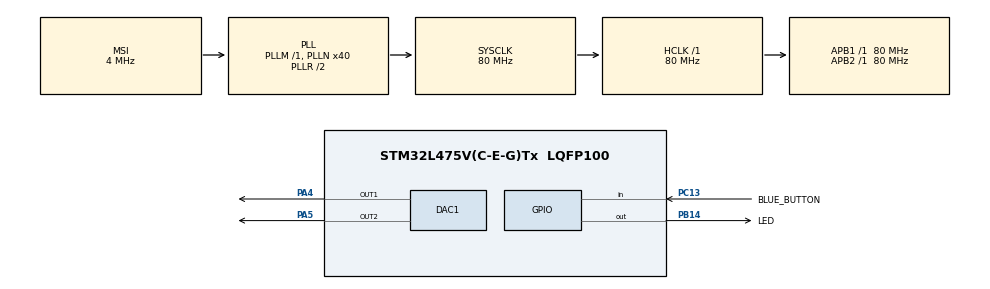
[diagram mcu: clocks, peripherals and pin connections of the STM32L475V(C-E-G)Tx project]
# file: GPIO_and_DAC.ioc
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ADC1.Channel-0\#ChannelRegularConversion=ADC_CHANNEL_VREFINT
ADC1.NbrOfConversionFlag=1
ADC1.OffsetNumber-0\#ChannelRegularConversion=ADC_OFFSET_NONE
ADC1.Rank-0\#ChannelRegularConversion=1
ADC1.SamplingTime-0\#ChannelRegularConversion=ADC_SAMPLETIME_92CYCLES_5
ADC1.master=1
ADC3.Channel-0\#ChannelRegularConversion=ADC_CHANNEL_TEMPSENSOR
ADC3.NbrOfConversionFlag=1
ADC3.OffsetNumber-0\#ChannelRegularConversion=ADC_OFFSET_NONE
ADC3.Rank-0\#ChannelRegularConversion=1
ADC3.SamplingTime-0\#ChannelRegularConversion=ADC_SAMPLETIME_92CYCLES_5
DAC1.DAC_Channel-DAC_OUT2=DAC_CHANNEL_2
DAC1.DAC_SampleAndHold-DAC_OUT1=DAC_SAMPLEANDHOLD_DISABLE
DAC1.DAC_SampleAndHold-DAC_OUT2=DAC_SAMPLEANDHOLD_DISABLE
Mcu.Family=STM32L4
Mcu.Name=STM32L475V(C-E-G)Tx
Mcu.Package=LQFP100
NVIC.PriorityGroup=NVIC_PRIORITYGROUP_4
PA13\ (JTMS-SWDIO).GPIO_Label=SWDIO
PA13\ (JTMS-SWDIO).Signal=SYS_JTMS-SWDIO
PA4.Signal=COMP_DAC11_group
PA5.Signal=COMP_DAC12_group
PB14.GPIO_Label=LED
PB14.Signal=GPIO_Output
PB3\ (JTDO-TRACESWO).GPIO_Label=SWO
PB3\ (JTDO-TRACESWO).Signal=SYS_JTDO-SWO
PC13.GPIO_Label=BLUE_BUTTON
PC13.Signal=GPIO_Input
ProjectManager.HeapSize=0x200
ProjectManager.StackSize=0x400
ProjectManager.TargetToolchain=STM32CubeIDE
RCC.ADCFreq_Value=48000000
RCC.AHBFreq_Value=80000000
RCC.APB1Freq_Value=80000000
RCC.APB1TimFreq_Value=80000000
RCC.APB2Freq_Value=80000000
RCC.APB2TimFreq_Value=80000000
RCC.CortexFreq_Value=80000000
RCC.HCLKFreq_Value=80000000
RCC.HSE_VALUE=8000000
RCC.HSI_VALUE=16000000
RCC.LSE_VALUE=32768
RCC.MSI_VALUE=4000000
RCC.PLLN=40
RCC.PLLSAI1N=24
RCC.SYSCLKFreq_VALUE=80000000
RCC.SYSCLKSource=RCC_SYSCLKSOURCE_PLLCLK
RCC.USBFreq_Value=48000000
RCC.VCOOutputFreq_Value=160000000
SH.COMP_DAC11_group.0=DAC1_OUT1,DAC_OUT1
SH.COMP_DAC12_group.0=DAC1_OUT2,DAC_OUT2
VP_ADC1_Vref_Input.Mode=IN-Vrefint
VP_ADC3_TempSens_Input.Mode=IN-TempSens
board=B-L475E-IOT01A2

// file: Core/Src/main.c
/* USER CODE BEGIN Header */
/**
  ******************************************************************************
  * @file           : main.c
  * @brief          : Main program body
  ******************************************************************************
  * @attention
  *
  * Copyright (c) 2023 STMicroelectronics.
  * All rights reserved.
  *
  * This software is licensed under terms that can be found in the LICENSE file
  * in the root directory of this software component.
  * If no LICENSE file comes with this software, it is provided AS-IS.
  *
  ******************************************************************************
  */
/* USER CODE END Header */
#include "main.h"

/* USER CODE BEGIN PD */
#define ADC_PULLING_RATE (int32_t) 100

/* USER CODE END PD */

ADC_HandleTypeDef hadc1;
ADC_HandleTypeDef hadc3;

DAC_HandleTypeDef hdac1;

void SystemClock_Config(void);
void PeriphCommonClock_Config(void);
static void MX_GPIO_Init(void);
static void MX_DAC1_Init(void);
static void MX_ADC1_Init(void);
static void MX_ADC3_Init(void);

int main(void)
{
  /* USER CODE BEGIN 1 */
  uint32_t samplingRate = 15;
  uint32_t period = 15; // 15 in ms
  uint32_t delay = period / samplingRate;
  uint32_t maxDACAmplitude = 150; // max of 8-bit number (but 200 instead of 256 bc clipping)
  uint32_t DACIncrement = maxDACAmplitude / samplingRate;
  float_t SINIncrement = (2.0 * M_PI) / samplingRate;

  uint32_t currentSAWValue = 0; // initialized value for SAW signal
  uint32_t currentTRIANGLEValue = 0; // initialized value for TRIANGLE signal
  float_t currentSINValue = 0; // initialized value for SIN signal output
  uint32_t SINOutput = 0;

  uint32_t vrefint;
  uint32_t temperatureSensor;
  int32_t temperatureCelcius;

  GPIO_PinState ledCurrentState = GPIO_PIN_RESET;
  GPIO_PinState buttonCurrentState = GPIO_PIN_SET;

  uint32_t currentSignalState = 0;
  uint32_t currentSignalOutput = 0;
  enum State {SAW = 0, TRIANGLE = 1, SIN = 2};
  // 0 = saw
  // 1 = triangle
  // 2 = sin

  /* USER CODE END 1 */

  /* MCU Configuration--------------------------------------------------------*/

  /* Reset of all peripherals, Initializes the Flash interface and the Systick. */
  HAL_Init();

  /* Configure the system clock */
  SystemClock_Config();

/* Configure the peripherals common clocks */
  PeriphCommonClock_Config();

  /* Initialize all configured peripherals */
  MX_GPIO_Init();
  MX_DAC1_Init();
  MX_ADC1_Init();
  MX_ADC3_Init();

  /* Infinite loop */
  /* USER CODE BEGIN WHILE */
  /////////////////////Initialize DAC for Wave/////////////////////
  HAL_DAC_Start(&hdac1, DAC_CHANNEL_1);
  HAL_DAC_Start(&hdac1, DAC_CHANNEL_2);
  /////////////////////Initialize ADC for Temperature Sensor/////////////////////
  HAL_ADC_Start(&hadc1);
  HAL_ADC_PollForConversion(&hadc1, ADC_PULLING_RATE);
  vrefint = HAL_ADC_GetValue(&hadc1);
  int32_t vrefintConverted = __HAL_ADC_CALC_VREFANALOG_VOLTAGE(vrefint, ADC_RESOLUTION_12B);
  HAL_ADC_Stop(&hadc1);
  while (1)
  {
    /* USER CODE END WHILE */

    /* USER CODE BEGIN 3 */
//	  buttonLightLED();

	  // This should be running for all parts because they depend on the signal values
	  generateSAW(&currentSAWValue, DACIncrement, maxDACAmplitude);
	  generateTRIANGLE(&currentTRIANGLEValue, currentSAWValue, maxDACAmplitude);
	  generateSIN(&SINOutput, &currentSINValue, SINIncrement);

	  // DAC for all parts except the last with the button
//	  HAL_DAC_SetValue(&hdac1, DAC_CHANNEL_1, DAC_ALIGN_8B_R, currentSAWValue); // took DAC_ALIGN_8B_R from documentation
//	  HAL_DAC_SetValue(&hdac1, DAC_CHANNEL_2, DAC_ALIGN_8B_R, currentTRIANGLEValue);
//	  HAL_DAC_SetValue(&hdac1, DAC_CHANNEL_2, DAC_ALIGN_8B_R, SINOutput);

	  ///// ADC temp read /////
	  HAL_ADC_Start(&hadc3);
	  HAL_ADC_PollForConversion(&hadc3, ADC_PULLING_RATE); // code to poll each ADC every 100 milliseconds
	  temperatureSensor = HAL_ADC_GetValue(&hadc3); // hadc3 because ADC3
	  HAL_ADC_Stop(&hadc3);
	  temperatureCelcius = __HAL_ADC_CALC_TEMPERATURE(vrefintConverted , temperatureSensor, ADC_RESOLUTION_12B);

	  // Delay for temperature change - frequency goes down when temperature goes up
//	  customDelay(temperatureCelcius);

	  // Delay for waves (don't forget to remove this when using temperature!
//	  HAL_Delay(delay);

      GPIO_PinState buttonRead = HAL_GPIO_ReadPin(BLUE_BUTTON_GPIO_Port, BLUE_BUTTON_Pin);
      if (buttonCurrentState != buttonRead && buttonRead == GPIO_PIN_RESET) // if there's a change of state (button pressed/released) AND we only want when button is first pressed
      {
          if (ledCurrentState == GPIO_PIN_RESET) // LED Off
          {
              ledCurrentState = GPIO_PIN_SET;
              currentSignalState += 1;
              currentSignalState = currentSignalState % 3; // 3 state 0, 1, 2
          }
          else // LED On
          {
              ledCurrentState = GPIO_PIN_RESET;
          }
          HAL_GPIO_WritePin(LED_GPIO_Port, LED_Pin, ledCurrentState);
      }
      buttonCurrentState = buttonRead;

      // Change the signal depending on button press
      if (ledCurrentState == GPIO_PIN_RESET)
      { // LED Off
    	  switch(currentSignalState)
    	  {
    	  	  case SAW:
    	  		  currentSignalOutput = currentSAWValue;
    	  		  break;
    	  	  case TRIANGLE:
    	  		currentSignalOutput = currentTRIANGLEValue;
    	  		break;
    	  	  case SIN:
      	  		currentSignalOutput = SINOutput;
      	  		break;
    	  }
    	  HAL_DAC_SetValue(&hdac1, DAC_CHANNEL_1, DAC_ALIGN_8B_R, currentSignalOutput);
    	  HAL_Delay(delay);
      }
      else
      { // LED On
    	  HAL_DAC_SetValue(&hdac1, DAC_CHANNEL_1, DAC_ALIGN_8B_R, SINOutput);
    	  customDelay(temperatureCelcius);
      }

  }
  /* USER CODE END 3 */
}

void SystemClock_Config(void)
{
  RCC_OscInitTypeDef RCC_OscInitStruct = {0};
  RCC_ClkInitTypeDef RCC_ClkInitStruct = {0};

  /** Configure the main internal regulator output voltage
  */
  if (HAL_PWREx_ControlVoltageScaling(PWR_REGULATOR_VOLTAGE_SCALE1) != HAL_OK)
  {
    Error_Handler();
  }

  /** Initializes the RCC Oscillators according to the specified parameters
  * in the RCC_OscInitTypeDef structure.
  */
  RCC_OscInitStruct.OscillatorType = RCC_OSCILLATORTYPE_MSI;
  RCC_OscInitStruct.MSIState = RCC_MSI_ON;
  RCC_OscInitStruct.MSICalibrationValue = 0;
  RCC_OscInitStruct.MSIClockRange = RCC_MSIRANGE_6;
  RCC_OscInitStruct.PLL.PLLState = RCC_PLL_ON;
  RCC_OscInitStruct.PLL.PLLSource = RCC_PLLSOURCE_MSI;
  RCC_OscInitStruct.PLL.PLLM = 1;
  RCC_OscInitStruct.PLL.PLLN = 40;
  RCC_OscInitStruct.PLL.PLLP = RCC_PLLP_DIV7;
  RCC_OscInitStruct.PLL.PLLQ = RCC_PLLQ_DIV2;
  RCC_OscInitStruct.PLL.PLLR = RCC_PLLR_DIV2;
  if (HAL_RCC_OscConfig(&RCC_OscInitStruct) != HAL_OK)
  {
    Error_Handler();
  }

  /** Initializes the CPU, AHB and APB buses clocks
  */
  RCC_ClkInitStruct.ClockType = RCC_CLOCKTYPE_HCLK|RCC_CLOCKTYPE_SYSCLK
                              |RCC_CLOCKTYPE_PCLK1|RCC_CLOCKTYPE_PCLK2;
  RCC_ClkInitStruct.SYSCLKSource = RCC_SYSCLKSOURCE_PLLCLK;
  RCC_ClkInitStruct.AHBCLKDivider = RCC_SYSCLK_DIV1;
  RCC_ClkInitStruct.APB1CLKDivider = RCC_HCLK_DIV1;
  RCC_ClkInitStruct.APB2CLKDivider = RCC_HCLK_DIV1;

  if (HAL_RCC_ClockConfig(&RCC_ClkInitStruct, FLASH_LATENCY_4) != HAL_OK)
  {
    Error_Handler();
  }
}

void PeriphCommonClock_Config(void)
{
  RCC_PeriphCLKInitTypeDef PeriphClkInit = {0};

  /** Initializes the peripherals clock
  */
  PeriphClkInit.PeriphClockSelection = RCC_PERIPHCLK_ADC;
  PeriphClkInit.AdcClockSelection = RCC_ADCCLKSOURCE_PLLSAI1;
  PeriphClkInit.PLLSAI1.PLLSAI1Source = RCC_PLLSOURCE_MSI;
  PeriphClkInit.PLLSAI1.PLLSAI1M = 1;
  PeriphClkInit.PLLSAI1.PLLSAI1N = 24;
  PeriphClkInit.PLLSAI1.PLLSAI1P = RCC_PLLP_DIV7;
  PeriphClkInit.PLLSAI1.PLLSAI1Q = RCC_PLLQ_DIV2;
  PeriphClkInit.PLLSAI1.PLLSAI1R = RCC_PLLR_DIV2;
  PeriphClkInit.PLLSAI1.PLLSAI1ClockOut = RCC_PLLSAI1_ADC1CLK;
  if (HAL_RCCEx_PeriphCLKConfig(&PeriphClkInit) != HAL_OK)
  {
    Error_Handler();
  }
}

static void MX_ADC1_Init(void)
{

  ADC_MultiModeTypeDef multimode = {0};
  ADC_ChannelConfTypeDef sConfig = {0};

  /** Common config
  */
  hadc1.Instance = ADC1;
  hadc1.Init.ClockPrescaler = ADC_CLOCK_ASYNC_DIV1;
  hadc1.Init.Resolution = ADC_RESOLUTION_12B;
  hadc1.Init.DataAlign = ADC_DATAALIGN_RIGHT;
  hadc1.Init.ScanConvMode = ADC_SCAN_DISABLE;
  hadc1.Init.EOCSelection = ADC_EOC_SINGLE_CONV;
  hadc1.Init.LowPowerAutoWait = DISABLE;
  hadc1.Init.ContinuousConvMode = DISABLE;
  hadc1.Init.NbrOfConversion = 1;
  hadc1.Init.DiscontinuousConvMode = DISABLE;
  hadc1.Init.ExternalTrigConv = ADC_SOFTWARE_START;
  hadc1.Init.ExternalTrigConvEdge = ADC_EXTERNALTRIGCONVEDGE_NONE;
  hadc1.Init.DMAContinuousRequests = DISABLE;
  hadc1.Init.Overrun = ADC_OVR_DATA_PRESERVED;
  hadc1.Init.OversamplingMode = DISABLE;
  if (HAL_ADC_Init(&hadc1) != HAL_OK)
  {
    Error_Handler();
  }

  /** Configure the ADC multi-mode
  */
  multimode.Mode = ADC_MODE_INDEPENDENT;
  if (HAL_ADCEx_MultiModeConfigChannel(&hadc1, &multimode) != HAL_OK)
  {
    Error_Handler();
  }

  /** Configure Regular Channel
  */
  sConfig.Channel = ADC_CHANNEL_VREFINT;
  sConfig.Rank = ADC_REGULAR_RANK_1;
  sConfig.SamplingTime = ADC_SAMPLETIME_92CYCLES_5;
  sConfig.SingleDiff = ADC_SINGLE_ENDED;
  sConfig.OffsetNumber = ADC_OFFSET_NONE;
  sConfig.Offset = 0;
  if (HAL_ADC_ConfigChannel(&hadc1, &sConfig) != HAL_OK)
  {
    Error_Handler();
  }

}

static void MX_ADC3_Init(void)
{

  ADC_ChannelConfTypeDef sConfig = {0};

  /** Common config
  */
  hadc3.Instance = ADC3;
  hadc3.Init.ClockPrescaler = ADC_CLOCK_ASYNC_DIV1;
  hadc3.Init.Resolution = ADC_RESOLUTION_12B;
  hadc3.Init.DataAlign = ADC_DATAALIGN_RIGHT;
  hadc3.Init.ScanConvMode = ADC_SCAN_DISABLE;
  hadc3.Init.EOCSelection = ADC_EOC_SINGLE_CONV;
  hadc3.Init.LowPowerAutoWait = DISABLE;
  hadc3.Init.ContinuousConvMode = DISABLE;
  hadc3.Init.NbrOfConversion = 1;
  hadc3.Init.DiscontinuousConvMode = DISABLE;
  hadc3.Init.ExternalTrigConv = ADC_SOFTWARE_START;
  hadc3.Init.ExternalTrigConvEdge = ADC_EXTERNALTRIGCONVEDGE_NONE;
  hadc3.Init.DMAContinuousRequests = DISABLE;
  hadc3.Init.Overrun = ADC_OVR_DATA_PRESERVED;
  hadc3.Init.OversamplingMode = DISABLE;
  if (HAL_ADC_Init(&hadc3) != HAL_OK)
  {
    Error_Handler();
  }

  /** Configure Regular Channel
  */
  sConfig.Channel = ADC_CHANNEL_TEMPSENSOR;
  sConfig.Rank = ADC_REGULAR_RANK_1;
  sConfig.SamplingTime = ADC_SAMPLETIME_92CYCLES_5;
  sConfig.SingleDiff = ADC_SINGLE_ENDED;
  sConfig.OffsetNumber = ADC_OFFSET_NONE;
  sConfig.Offset = 0;
  if (HAL_ADC_ConfigChannel(&hadc3, &sConfig) != HAL_OK)
  {
    Error_Handler();
  }

}

static void MX_DAC1_Init(void)
{

  DAC_ChannelConfTypeDef sConfig = {0};

  /** DAC Initialization
  */
  hdac1.Instance = DAC1;
  if (HAL_DAC_Init(&hdac1) != HAL_OK)
  {
    Error_Handler();
  }

  /** DAC channel OUT1 config
  */
  sConfig.DAC_SampleAndHold = DAC_SAMPLEANDHOLD_DISABLE;
  sConfig.DAC_Trigger = DAC_TRIGGER_NONE;
  sConfig.DAC_OutputBuffer = DAC_OUTPUTBUFFER_ENABLE;
  sConfig.DAC_ConnectOnChipPeripheral = DAC_CHIPCONNECT_DISABLE;
  sConfig.DAC_UserTrimming = DAC_TRIMMING_FACTORY;
  if (HAL_DAC_ConfigChannel(&hdac1, &sConfig, DAC_CHANNEL_1) != HAL_OK)
  {
    Error_Handler();
  }

  /** DAC channel OUT2 config
  */
  if (HAL_DAC_ConfigChannel(&hdac1, &sConfig, DAC_CHANNEL_2) != HAL_OK)
  {
    Error_Handler();
  }

}

static void MX_GPIO_Init(void)
{
  GPIO_InitTypeDef GPIO_InitStruct = {0};

  /* GPIO Ports Clock Enable */
  __HAL_RCC_GPIOC_CLK_ENABLE();
  __HAL_RCC_GPIOA_CLK_ENABLE();
  __HAL_RCC_GPIOB_CLK_ENABLE();

  /*Configure GPIO pin Output Level */
  HAL_GPIO_WritePin(LED_GPIO_Port, LED_Pin, GPIO_PIN_RESET);

  /*Configure GPIO pin : BLUE_BUTTON_Pin */
  GPIO_InitStruct.Pin = BLUE_BUTTON_Pin;
  GPIO_InitStruct.Mode = GPIO_MODE_INPUT;
  GPIO_InitStruct.Pull = GPIO_NOPULL;
  HAL_GPIO_Init(BLUE_BUTTON_GPIO_Port, &GPIO_InitStruct);

  /*Configure GPIO pin : LED_Pin */
  GPIO_InitStruct.Pin = LED_Pin;
  GPIO_InitStruct.Mode = GPIO_MODE_OUTPUT_PP;
  GPIO_InitStruct.Pull = GPIO_NOPULL;
  GPIO_InitStruct.Speed = GPIO_SPEED_FREQ_LOW;
  HAL_GPIO_Init(LED_GPIO_Port, &GPIO_InitStruct);

}

void Error_Handler(void)
{
  __disable_irq();
  while (1)
  {
  }
}
